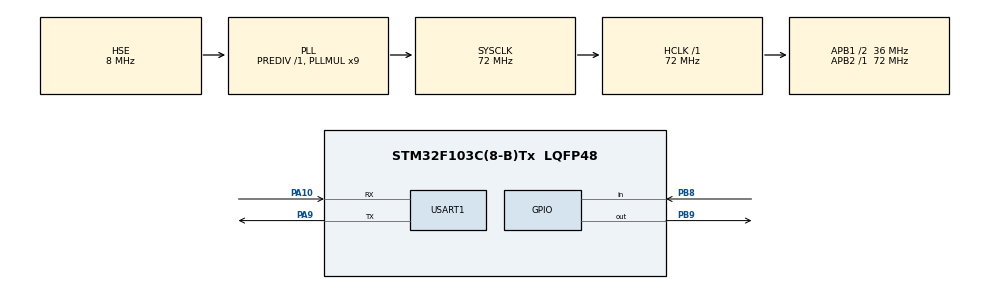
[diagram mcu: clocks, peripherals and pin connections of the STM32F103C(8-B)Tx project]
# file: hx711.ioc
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Mcu.Family=STM32F1
Mcu.Name=STM32F103C(8-B)Tx
Mcu.Package=LQFP48
NVIC.PriorityGroup=NVIC_PRIORITYGROUP_4
NVIC.USART1_IRQn=true\:0\:0\:false\:false\:true\:true\:true\:true
PA10.Mode=Asynchronous
PA10.Signal=USART1_RX
PA13.Mode=Serial_Wire
PA13.Signal=SYS_JTMS-SWDIO
PA14.Mode=Serial_Wire
PA14.Signal=SYS_JTCK-SWCLK
PA9.Mode=Asynchronous
PA9.Signal=USART1_TX
PB8.Signal=GPIO_Input
PB9.Signal=GPIO_Output
PD0-OSC_IN.Mode=HSE-External-Oscillator
PD0-OSC_IN.Signal=RCC_OSC_IN
PD1-OSC_OUT.Mode=HSE-External-Oscillator
PD1-OSC_OUT.Signal=RCC_OSC_OUT
ProjectManager.HeapSize=0x200
ProjectManager.StackSize=0x400
ProjectManager.TargetToolchain=STM32CubeIDE
RCC.AHBFreq_Value=72000000
RCC.APB1CLKDivider=RCC_HCLK_DIV2
RCC.APB1Freq_Value=36000000
RCC.APB1TimFreq_Value=72000000
RCC.APB2Freq_Value=72000000
RCC.APB2TimFreq_Value=72000000
RCC.HCLKFreq_Value=72000000
RCC.PLLMUL=RCC_PLL_MUL9
RCC.PLLSourceVirtual=RCC_PLLSOURCE_HSE
RCC.SYSCLKFreq_VALUE=72000000
RCC.SYSCLKSource=RCC_SYSCLKSOURCE_PLLCLK
RCC.USBFreq_Value=72000000
TIM2.Prescaler=70
USART1.VirtualMode=VM_ASYNC
VP_TIM2_VS_ClockSourceINT.Mode=Internal
board=custom

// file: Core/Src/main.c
/* USER CODE BEGIN Header */
/**
  ******************************************************************************
  * @file           : main.c
  * @brief          : Main program body
  ******************************************************************************
  * @attention
  *
  * Copyright (c) 2025 STMicroelectronics.
  * All rights reserved.
  *
  * This software is licensed under terms that can be found in the LICENSE file
  * in the root directory of this software component.
  * If no LICENSE file comes with this software, it is provided AS-IS.
  *
  ******************************************************************************
  */
/* USER CODE END Header */
#include "main.h"

/* USER CODE BEGIN PD */
#include "../../Drivers/Device_drivers/hx711/HX711.h"
#include <stdio.h>
/* USER CODE END PD */

TIM_HandleTypeDef htim2;

UART_HandleTypeDef huart1;

/* USER CODE BEGIN PV */
Hx711_t Sensor;

/* USER CODE END PV */

void SystemClock_Config(void);
static void MX_GPIO_Init(void);
static void MX_TIM2_Init(void);
static void MX_USART1_UART_Init(void);

/* USER CODE BEGIN 0 */
/* USER CODE BEGIN 0 */
#define DT_PIN GPIO_PIN_8
#define DT_PORT GPIOB
#define SCK_PIN GPIO_PIN_9
#define SCK_PORT GPIOB

uint32_t tare = 0;
float knownOriginal = 1;  // in milli gram
float knownHX711 = 1;
int weight;

void microDelay(uint16_t delay)
{
  __HAL_TIM_SET_COUNTER(&htim2, 0);
  while (__HAL_TIM_GET_COUNTER(&htim2) < delay);
}

int32_t getHX711(void)
{
  uint32_t data = 0;
  uint32_t startTime = HAL_GetTick();
  while(HAL_GPIO_ReadPin(DT_PORT, DT_PIN) == GPIO_PIN_SET)
  {
    if(HAL_GetTick() - startTime > 200)
      return 0;
  }
  for(int8_t len=0; len<24 ; len++)
  {
    HAL_GPIO_WritePin(SCK_PORT, SCK_PIN, GPIO_PIN_SET);
    microDelay(1);
    data = data << 1;
    HAL_GPIO_WritePin(SCK_PORT, SCK_PIN, GPIO_PIN_RESET);
    microDelay(1);
    if(HAL_GPIO_ReadPin(DT_PORT, DT_PIN) == GPIO_PIN_SET)
      data ++;
  }
  data = data ^ 0x800000;
  HAL_GPIO_WritePin(SCK_PORT, SCK_PIN, GPIO_PIN_SET);
  microDelay(1);
  HAL_GPIO_WritePin(SCK_PORT, SCK_PIN, GPIO_PIN_RESET);
  microDelay(1);
  return data;
}

int weigh()
{
  int32_t  total = 0;
  int32_t  samples = 50;
  int milligram;
  float coefficient;
  for(uint16_t i=0 ; i<samples ; i++)
  {
      total += getHX711();
  }
  int32_t average = (int32_t)(total / samples);
  coefficient = knownOriginal / knownHX711;
  milligram = (int)(average-tare)*coefficient;
  return milligram;
}
/* USER CODE END 0 */

int main(void)
{

  /* MCU Configuration--------------------------------------------------------*/

  /* Reset of all peripherals, Initializes the Flash interface and the Systick. */
  HAL_Init();

  /* Configure the system clock */
  SystemClock_Config();

  /* Initialize all configured peripherals */
  MX_GPIO_Init();
  MX_TIM2_Init();
  MX_USART1_UART_Init();
  /* USER CODE BEGIN 2 */

/*  HAL_TIM_Base_Start(&htim2);
  HAL_GPIO_WritePin(SCK_PORT, SCK_PIN, GPIO_PIN_SET);
  HAL_Delay(10);
  HAL_GPIO_WritePin(SCK_PORT, SCK_PIN, GPIO_PIN_RESET);
  HAL_Delay(10);*/
  hx711_init(&Sensor, GPIOB,GPIOB,GPIO_PIN_8,GPIO_PIN_7);

  char num[32];
  /* USER CODE END 2 */

  /* Infinite loop */
  /* USER CODE BEGIN WHILE */
  while (1)
  {
hx711_read(&Sensor);
uint16_t Len = sprintf(num,"Weight=%ld\n",Sensor.result);
HAL_UART_Transmit(&huart1, (const uint8_t*)num, Len, 100);
HAL_Delay(100);
//	    weight = weigh(); // in milligram
    /* USER CODE END WHILE */

  }
}

void SystemClock_Config(void)
{
  RCC_OscInitTypeDef RCC_OscInitStruct = {0};
  RCC_ClkInitTypeDef RCC_ClkInitStruct = {0};

  /** Initializes the RCC Oscillators according to the specified parameters
  * in the RCC_OscInitTypeDef structure.
  */
  RCC_OscInitStruct.OscillatorType = RCC_OSCILLATORTYPE_HSE;
  RCC_OscInitStruct.HSEState = RCC_HSE_ON;
  RCC_OscInitStruct.HSEPredivValue = RCC_HSE_PREDIV_DIV1;
  RCC_OscInitStruct.HSIState = RCC_HSI_ON;
  RCC_OscInitStruct.PLL.PLLState = RCC_PLL_ON;
  RCC_OscInitStruct.PLL.PLLSource = RCC_PLLSOURCE_HSE;
  RCC_OscInitStruct.PLL.PLLMUL = RCC_PLL_MUL9;
  if (HAL_RCC_OscConfig(&RCC_OscInitStruct) != HAL_OK)
  {
    Error_Handler();
  }

  /** Initializes the CPU, AHB and APB buses clocks
  */
  RCC_ClkInitStruct.ClockType = RCC_CLOCKTYPE_HCLK|RCC_CLOCKTYPE_SYSCLK
                              |RCC_CLOCKTYPE_PCLK1|RCC_CLOCKTYPE_PCLK2;
  RCC_ClkInitStruct.SYSCLKSource = RCC_SYSCLKSOURCE_PLLCLK;
  RCC_ClkInitStruct.AHBCLKDivider = RCC_SYSCLK_DIV1;
  RCC_ClkInitStruct.APB1CLKDivider = RCC_HCLK_DIV2;
  RCC_ClkInitStruct.APB2CLKDivider = RCC_HCLK_DIV1;

  if (HAL_RCC_ClockConfig(&RCC_ClkInitStruct, FLASH_LATENCY_2) != HAL_OK)
  {
    Error_Handler();
  }
}

static void MX_TIM2_Init(void)
{

  TIM_ClockConfigTypeDef sClockSourceConfig = {0};
  TIM_MasterConfigTypeDef sMasterConfig = {0};

  htim2.Instance = TIM2;
  htim2.Init.Prescaler = 70;
  htim2.Init.CounterMode = TIM_COUNTERMODE_UP;
  htim2.Init.Period = 65535;
  htim2.Init.ClockDivision = TIM_CLOCKDIVISION_DIV1;
  htim2.Init.AutoReloadPreload = TIM_AUTORELOAD_PRELOAD_DISABLE;
  if (HAL_TIM_Base_Init(&htim2) != HAL_OK)
  {
    Error_Handler();
  }
  sClockSourceConfig.ClockSource = TIM_CLOCKSOURCE_INTERNAL;
  if (HAL_TIM_ConfigClockSource(&htim2, &sClockSourceConfig) != HAL_OK)
  {
    Error_Handler();
  }
  sMasterConfig.MasterOutputTrigger = TIM_TRGO_RESET;
  sMasterConfig.MasterSlaveMode = TIM_MASTERSLAVEMODE_DISABLE;
  if (HAL_TIMEx_MasterConfigSynchronization(&htim2, &sMasterConfig) != HAL_OK)
  {
    Error_Handler();
  }

}

static void MX_USART1_UART_Init(void)
{

  huart1.Instance = USART1;
  huart1.Init.BaudRate = 115200;
  huart1.Init.WordLength = UART_WORDLENGTH_8B;
  huart1.Init.StopBits = UART_STOPBITS_1;
  huart1.Init.Parity = UART_PARITY_NONE;
  huart1.Init.Mode = UART_MODE_TX_RX;
  huart1.Init.HwFlowCtl = UART_HWCONTROL_NONE;
  huart1.Init.OverSampling = UART_OVERSAMPLING_16;
  if (HAL_UART_Init(&huart1) != HAL_OK)
  {
    Error_Handler();
  }

}

static void MX_GPIO_Init(void)
{
  GPIO_InitTypeDef GPIO_InitStruct = {0};

  /* GPIO Ports Clock Enable */
  __HAL_RCC_GPIOD_CLK_ENABLE();
  __HAL_RCC_GPIOA_CLK_ENABLE();
  __HAL_RCC_GPIOB_CLK_ENABLE();

  /*Configure GPIO pin Output Level */
  HAL_GPIO_WritePin(GPIOB, GPIO_PIN_9, GPIO_PIN_RESET);

  /*Configure GPIO pin : PB8 */
  GPIO_InitStruct.Pin = GPIO_PIN_8;
  GPIO_InitStruct.Mode = GPIO_MODE_INPUT;
  GPIO_InitStruct.Pull = GPIO_NOPULL;
  HAL_GPIO_Init(GPIOB, &GPIO_InitStruct);

  /*Configure GPIO pin : PB9 */
  GPIO_InitStruct.Pin = GPIO_PIN_9;
  GPIO_InitStruct.Mode = GPIO_MODE_OUTPUT_PP;
  GPIO_InitStruct.Pull = GPIO_NOPULL;
  GPIO_InitStruct.Speed = GPIO_SPEED_FREQ_LOW;
  HAL_GPIO_Init(GPIOB, &GPIO_InitStruct);

}

void Error_Handler(void)
{
  __disable_irq();
  while (1)
  {
  }
}
